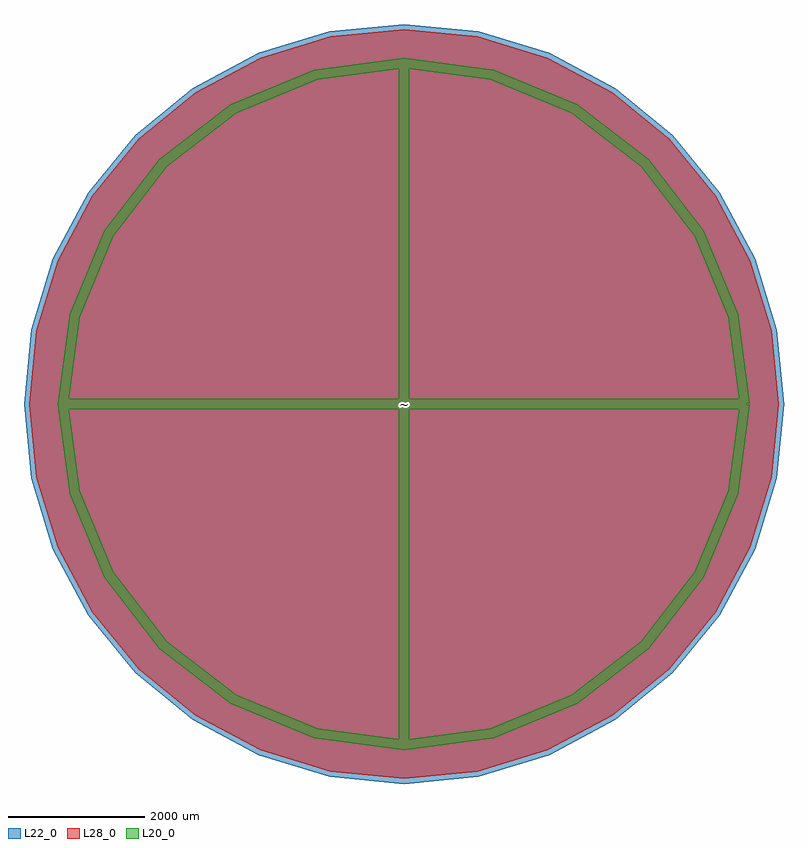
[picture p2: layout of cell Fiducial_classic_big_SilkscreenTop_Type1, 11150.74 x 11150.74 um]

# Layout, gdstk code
import gdstk
lib = gdstk.Library(unit=1e-6, precision=1e-09)
def P(c, l, *ps):  # polygons
    for p in ps: c.add(gdstk.Polygon(p, *l))
L20_0 = (20, 0)
L22_0 = (22, 0)
L28_0 = (28, 0)

fiducial_classic_big_sil = lib.new_cell('Fiducial_classic_big_SilkscreenTop_Type1')
P(fiducial_classic_big_sil, L22_0, [(5575.37,0),(5468.241,1087.701),(5150.97,2133.602),(4635.751,3097.51),(3942.382,3942.382),(3097.51,4635.751),(2133.602,5150.97),(1087.701,5468.241),(0,5575.37),(-1087.701,5468.241),(-2133.602,5150.97),(-3097.51,4635.751),(-3942.382,3942.382),(-4635.751,3097.51),(-5150.97,2133.602),(-5468.241,1087.701),(-5575.37,0),(-5468.241,-1087.701),(-5150.97,-2133.602),(-4635.751,-3097.51),(-3942.382,-3942.382),(-3097.51,-4635.751),(-2133.602,-5150.97),(-1087.701,-5468.241),(0,-5575.37),(1087.701,-5468.241),(2133.602,-5150.97),(3097.51,-4635.751),(3942.382,-3942.382),(4635.751,-3097.51),(5150.97,-2133.602),(5468.241,-1087.701)])
P(fiducial_classic_big_sil, L28_0, [(5500.37,0),(5394.682,1073.069),(5081.679,2104.9),(4573.391,3055.842),(3889.349,3889.349),(3055.842,4573.391),(2104.9,5081.679),(1073.069,5394.682),(0,5500.37),(-1073.069,5394.682),(-2104.9,5081.679),(-3055.842,4573.391),(-3889.349,3889.349),(-4573.391,3055.842),(-5081.679,2104.9),(-5394.682,1073.069),(-5500.37,0),(-5394.682,-1073.069),(-5081.679,-2104.9),(-4573.391,-3055.842),(-3889.349,-3889.349),(-3055.842,-4573.391),(-2104.9,-5081.679),(-1073.069,-5394.682),(0,-5500.37),(1073.069,-5394.682),(2104.9,-5081.679),(3055.842,-4573.391),(3889.349,-3889.349),(4573.391,-3055.842),(5081.679,-2104.9),(5394.682,-1073.069)])
fiducial_classic_big_sil.add(gdstk.FlexPath([(5001.26,0),(4830.846,1294.421),(4331.218,2500.63),(3536.425,3536.425),(2500.63,4331.218),(1294.421,4830.846),(0,5001.26),(-1294.421,4830.846),(-2500.63,4331.218),(-3536.425,3536.425),(-4331.218,2500.63),(-4830.846,1294.421),(-5001.26,0),(-4830.846,-1294.421),(-4331.218,-2500.63),(-3536.425,-3536.425),(-2500.63,-4331.218),(-1294.421,-4830.846),(0,-5001.26),(1294.421,-4830.846),(2500.63,-4331.218),(3536.425,-3536.425),(4331.218,-2500.63),(4830.846,-1294.421),(5001.26,0)], 149.998, ends="flush", simple_path=True, layer=20, datatype=0))  # L20_0
fiducial_classic_big_sil.add(gdstk.FlexPath([(0,5001.26),(0,-5001.26)], 149.998, ends="flush", simple_path=True, layer=20, datatype=0))  # L20_0
fiducial_classic_big_sil.add(gdstk.FlexPath([(-5001.26,0),(5001.26,0)], 149.998, ends="flush", simple_path=True, layer=20, datatype=0))  # L20_0
fiducial_classic_big_sil.add(gdstk.Label('~', (0,0), layer=28, texttype=0))
fiducial_classic_big_sil.add(gdstk.Label('type', (40.64,-6870.7), layer=9, texttype=0))
fiducial_classic_big_sil.add(gdstk.Label('devicename', (78.74,6609.08), layer=9, texttype=0))

lib.write_gds('Fiducial_classic_big_SilkscreenTop_Type1.gds')
